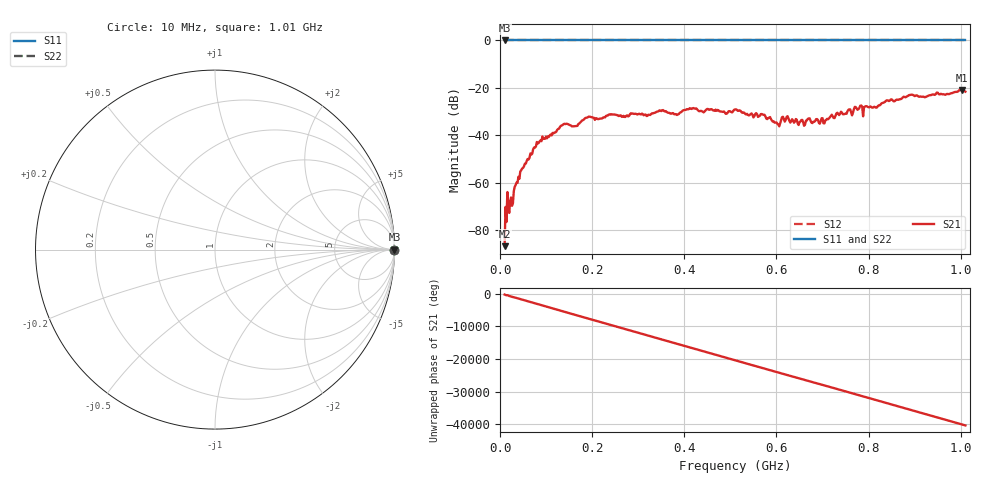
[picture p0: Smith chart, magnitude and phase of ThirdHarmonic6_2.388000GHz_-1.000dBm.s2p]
! 8/17/2025 3:51:18 AM
! C:\ANRITSUVNA\TEMP\TEMP.S2P
! CHANNEL.1
! TR.MEASUREMENT
! RAW.DATA
! RF.CORRECTION.OFF
! AVERAGING.OFF
! IF.BANDWIDTH: 5KHZ
! SWEEPTYPE:  FREQ.SWEEP(Linear)
! Reference Plane Port Info
! PORT:  PORT1  PORT2
! DISTANCE:  0  m  0  m
! TIME:  0  s  0  s
! PHASE.OFFSET:  0  deg.  0  deg.
! LOSS:  0  dB  0  dB
! REF.LOSS:  0  dB  0  dB
! REF.FREQ:  0  Hz  0  Hz
! Power Info
! POWER:  -20  dBm  -20  dBm
! EFF.POWER:  -20  dBm  -20  dBm
! SOURCE.ATTEN:  0  dB  0  dB
! TEST.ATTEN:  0  dB  0  dB
# GHZ S RI R 50.0
! FREQ.GHZ  S11RE  S11IM  S21RE  S21IM  S12RE  S12IM  S22RE  S22IM
!; PortSelection: Port_12
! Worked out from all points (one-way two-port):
!   501 points, 10 MHz to 1.01 GHz, reference 50 ohm
!   highest |S21| = -20.85 dB at 1.002 GHz (marker M1); lowest = -86.8 dB at 10 MHz (marker M2)
!   lowest |S11| = 0.0 dB at 10 MHz (marker M3)
!   |S11| at or under -10 dB: nowhere
!   |S22| runs from 0.0 to 0.0 dB; largest |S21 - S12| = 1.1
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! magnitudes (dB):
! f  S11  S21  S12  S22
! 10 MHz  0.0  -86.8  0.0  0.0
! 14 MHz  0.0  -76.6  0.0  0.0
! 20 MHz  0.0  -72.8  0.0  0.0
! 24 MHz  0.0  -66.3  0.0  0.0
! 34 MHz  0.0  -61.0  0.0  0.0
! 44 MHz  0.0  -55.3  0.0  0.0
! 76 MHz  0.0  -45.2  0.0  0.0
! 136 MHz  0.0  -35.7  0.0  0.0
! 164 MHz  0.0  -36.1  0.0  0.0
! 178 MHz  0.0  -33.8  0.0  0.0
! 344 MHz  0.0  -29.9  0.0  0.0
! 382 MHz  0.0  -31.1  0.0  0.0
! 416 MHz  0.0  -28.9  0.0  0.0
! 490 MHz  0.0  -31.0  0.0  0.0
! 510 MHz  0.0  -29.1  0.0  0.0
! 570 MHz  0.0  -31.2  0.0  0.0
! 604 MHz  0.0  -35.5  0.0  0.0
! 624 MHz  0.0  -32.0  0.0  0.0
! 678 MHz  0.0  -34.9  0.0  0.0
! 844 MHz  0.0  -25.6  0.0  0.0
! 1.002 GHz  0.0  -20.9  0.0  0.0
! 1.01 GHz  0.0  -21.6  0.0  0.0
